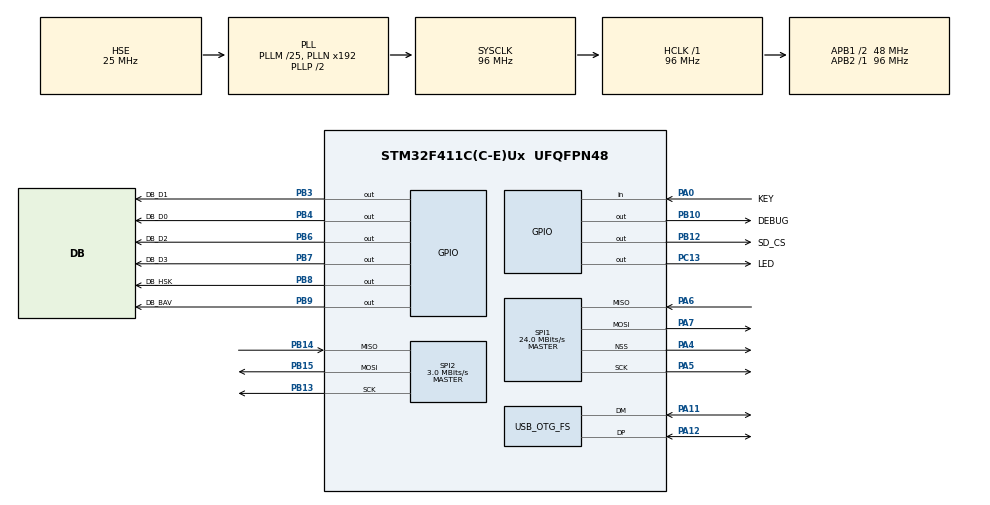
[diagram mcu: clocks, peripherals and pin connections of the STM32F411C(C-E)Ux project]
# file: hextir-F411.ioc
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Mcu.Family=STM32F4
Mcu.Name=STM32F411C(C-E)Ux
Mcu.Package=UFQFPN48
NVIC.OTG_FS_IRQn=true\:0\:0\:false\:false\:true\:false\:true\:true
NVIC.PriorityGroup=NVIC_PRIORITYGROUP_4
NVIC.TIM1_UP_TIM10_IRQn=true\:0\:0\:false\:false\:true\:true\:true\:true
PA0-WKUP.GPIO_Label=KEY
PA0-WKUP.GPIO_PuPd=GPIO_PULLUP
PA0-WKUP.Signal=GPIO_Input
PA11.Mode=Device_Only
PA11.Signal=USB_OTG_FS_DM
PA12.Mode=Device_Only
PA12.Signal=USB_OTG_FS_DP
PA13.Mode=Serial_Wire
PA13.Signal=SYS_JTMS-SWDIO
PA14.Mode=Serial_Wire
PA14.Signal=SYS_JTCK-SWCLK
PA4.Mode=NSS_Signal_Hard_Output
PA4.Signal=SPI1_NSS
PA5.Mode=Full_Duplex_Master
PA5.Signal=SPI1_SCK
PA6.Mode=Full_Duplex_Master
PA6.Signal=SPI1_MISO
PA7.Mode=Full_Duplex_Master
PA7.Signal=SPI1_MOSI
PB10.GPIO_Label=DEBUG
PB10.Signal=GPIO_Output
PB12.GPIO_Label=SD_CS
PB12.PinState=GPIO_PIN_SET
PB12.Signal=GPIO_Output
PB13.Mode=Full_Duplex_Master
PB13.Signal=SPI2_SCK
PB14.Mode=Full_Duplex_Master
PB14.Signal=SPI2_MISO
PB15.Mode=Full_Duplex_Master
PB15.Signal=SPI2_MOSI
PB3.GPIO_Label=DB_D1
PB3.GPIO_ModeDefaultOutputPP=GPIO_MODE_OUTPUT_OD
PB3.GPIO_PuPd=GPIO_PULLUP
PB3.PinState=GPIO_PIN_SET
PB3.Signal=GPIO_Output
PB4.GPIO_Label=DB_D0
PB4.GPIO_ModeDefaultOutputPP=GPIO_MODE_OUTPUT_OD
PB4.GPIO_PuPd=GPIO_PULLUP
PB4.PinState=GPIO_PIN_SET
PB4.Signal=GPIO_Output
PB6.GPIO_Label=DB_D2
PB6.GPIO_ModeDefaultOutputPP=GPIO_MODE_OUTPUT_OD
PB6.GPIO_PuPd=GPIO_PULLUP
PB6.PinState=GPIO_PIN_SET
PB6.Signal=GPIO_Output
PB7.GPIO_Label=DB_D3
PB7.GPIO_ModeDefaultOutputPP=GPIO_MODE_OUTPUT_OD
PB7.GPIO_PuPd=GPIO_PULLUP
PB7.PinState=GPIO_PIN_SET
PB7.Signal=GPIO_Output
PB8.GPIO_Label=DB_HSK
PB8.GPIO_ModeDefaultOutputPP=GPIO_MODE_OUTPUT_OD
PB8.GPIO_PuPd=GPIO_PULLUP
PB8.PinState=GPIO_PIN_SET
PB8.Signal=GPIO_Output
PB9.GPIO_Label=DB_BAV
PB9.GPIO_ModeDefaultOutputPP=GPIO_MODE_OUTPUT_OD
PB9.GPIO_PuPd=GPIO_PULLUP
PB9.PinState=GPIO_PIN_SET
PB9.Signal=GPIO_Output
PC13-ANTI_TAMP.GPIO_Label=LED
PC13-ANTI_TAMP.Signal=GPIO_Output
PH0\ -\ OSC_IN.Mode=HSE-External-Oscillator
PH0\ -\ OSC_IN.Signal=RCC_OSC_IN
PH1\ -\ OSC_OUT.Mode=HSE-External-Oscillator
PH1\ -\ OSC_OUT.Signal=RCC_OSC_OUT
ProjectManager.HeapSize=0x200
ProjectManager.StackSize=0x400
ProjectManager.TargetToolchain=STM32CubeIDE
RCC.48MHZClocksFreq_Value=48000000
RCC.AHBFreq_Value=96000000
RCC.APB1CLKDivider=RCC_HCLK_DIV2
RCC.APB1Freq_Value=48000000
RCC.APB1TimFreq_Value=96000000
RCC.APB2Freq_Value=96000000
RCC.APB2TimFreq_Value=96000000
RCC.CortexFreq_Value=96000000
RCC.HCLKFreq_Value=96000000
RCC.HSE_VALUE=25000000
RCC.HSI_VALUE=16000000
RCC.LSE_VALUE=32768
RCC.PLLM=25
RCC.SYSCLKFreq_VALUE=96000000
RCC.SYSCLKSource=RCC_SYSCLKSOURCE_PLLCLK
RCC.VCOOutputFreq_Value=192000000
SPI1.BaudRatePrescaler=SPI_BAUDRATEPRESCALER_4
SPI1.CalculateBaudRate=24.0 MBits/s
SPI1.Direction=SPI_DIRECTION_2LINES
SPI1.Mode=SPI_MODE_MASTER
SPI1.VirtualNSS=VM_NSSHARD
SPI1.VirtualType=VM_MASTER
SPI2.BaudRatePrescaler=SPI_BAUDRATEPRESCALER_16
SPI2.CalculateBaudRate=3.0 MBits/s
SPI2.Direction=SPI_DIRECTION_2LINES
SPI2.Mode=SPI_MODE_MASTER
SPI2.VirtualType=VM_MASTER
TIM10.Period=50000
TIM10.Prescaler=0
USB_DEVICE.CLASS_NAME_FS=CDC
USB_DEVICE.VirtualMode=Cdc
USB_DEVICE.VirtualModeFS=Cdc_FS
USB_OTG_FS.VirtualMode=Device_Only
VP_TIM10_VS_ClockSourceINT.Mode=Enable_Timer
VP_USB_DEVICE_VS_USB_DEVICE_CDC_FS.Mode=CDC_FS
board=custom

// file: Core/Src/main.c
/* USER CODE BEGIN Header */
/**
  ******************************************************************************
  * @file           : main.c
  * @brief          : Main program body
  ******************************************************************************
  * @attention
  *
  * Copyright (c) 2023 STMicroelectronics.
  * Copyright (C) 2023 Erik Piehl (for parts not autogenerated by STM32CubeIDE)
  * All rights reserved.
  *
  * This software is licensed under terms that can be found in the LICENSE file
  * in the root directory of this software component.
  * If no LICENSE file comes with this software, it is provided AS-IS.
  *
  ******************************************************************************
  */
/* USER CODE END Header */
#include "main.h"
#include "usb_device.h"

/* USER CODE BEGIN Includes */
#include "usbd_cdc_if.h"

#include "../HEXTIr/config.h"
#include "../HEXTIr/uart.h"	// HEXTir
#include "../HEXTIr/timer.h"	// HEXTir

/* USER CODE END Includes */

SPI_HandleTypeDef hspi1;
SPI_HandleTypeDef hspi2;

TIM_HandleTypeDef htim10;

void SystemClock_Config(void);
static void MX_GPIO_Init(void);
static void MX_TIM10_Init(void);
static void MX_SPI1_Init(void);
static void MX_SPI2_Init(void);

/* USER CODE BEGIN 0 */
int hextir_main(void);

static int delay_loops;

void _delay_us(int us) {
	// here we have a microsecond delay.
	// The overhead is about 1.5us. So we make the min time 2us.
	if(us < 2)
		us = 2;
	// The timer has been configured to count at processor clock i.e. 96MHz.
	// It's a 16-bit timer, so it rolls out real quick. the reload is set to 50000.
	htim10.Instance->CNT = 0;
	uint32_t limit = 96*us - 150;	// 150 approximates the overhead.
	if(limit >= 50000)
		limit = 50000;	// Prevent eternal loops. Beware of off by one.
	delay_loops = 0;
	HAL_TIM_Base_Start(&htim10);
	// Just a busy loop to wait the time to pass.
	while(htim10.Instance->CNT < limit) {
		delay_loops++;
	}
	HAL_TIM_Base_Stop(&htim10);
}

void timer_init(void) {
	// BUGBUG MISSING
	int t=1;	// breakpoint placeholder
}

void set_busy_led(uint8_t state) {
	HAL_GPIO_WritePin(LED_GPIO_Port, LED_Pin, state ? GPIO_PIN_RESET : GPIO_PIN_SET);
}

uint8_t crc7update(uint8_t crc, uint8_t data) {
//    ;; uint8_t crc7update(uint8_t crc, uint8_t data)
//    ;;
//    ;; input : r24: crc, r22: data
//    ;; output: r24: new crc
//crc7update:
//    ldi     r18, 8       ; number of bits to process
//    ldi     r19, 0x09    ; CRC7 polynomial
//    ldi     r20, 0x80    ; constant for inverting the top bit of the CRC
//
//loop:   lsl     r24          ; shift CRC
//    lsl     r22          ; shift data byte
//    brcc    0f           ; jump if top data bit was 0
//    eor     r24, r20     ; invert top bit of CRC if not
//0:      bst     r24, 7       ; read top bit of CRC
//    brtc    1f           ; skip if top bit of CRC is now clear
//    eor     r24, r19     ; apply polynomial
//1:      dec     r18          ; decrement bit counter
//    brne    loop         ; loop for next bit
//    andi    r24, 0x7f    ; clear top bit of
//    ret

	const uint8_t poly = 9;

	for(int i=0; i< 8; i++) {
		crc <<= 1;
		data <<= 1;
		if(data & 0x80)
			crc ^= 0x80;
		if(crc & 0x80)
			crc ^= poly;
	}
	return crc & 0x7F;
}

uint8_t crc7update2(uint8_t crc, uint8_t data)
{
	const uint8_t poly = 0x89;
	uint8_t v = (crc << 1) ^ data;
	v = (v & 0x80) ? v ^ poly : v;
	for (int i = 1; i < 8; i++) {
		v <<= 1;
		if (v & 0x80)
			v ^= poly;
	}
	return v;
}

volatile int rxbuf_level = 0;
uint8_t rxbuf[256];
uint8_t txbuf[512];
int txbuf_level = 0;
uint32_t cdc_sent_bytes = 0;

int erik_cdc_received_data(uint8_t *p, uint16_t len) {
	if(len < sizeof(rxbuf) - rxbuf_level) {
		memcpy(rxbuf+rxbuf_level, p, len);
		rxbuf_level += len;
		return len;
	}
	return 0;
}

/**
 * @brief get_cdc_received_data should probably block interrupts from CDC
 * before being run.
 */
int get_cdc_received_data(uint8_t *p, int len) {
	int amount = MIN(rxbuf_level, len);
	if(amount > 0) {
		memcpy(p, rxbuf, amount);
		if(rxbuf_level > amount) {
			// in efficient - copy data in the buffer to the beginning
			memcpy(rxbuf, rxbuf+amount, rxbuf_level-amount);
		}
		rxbuf_level -= amount;
		return amount;
	}
	return 0;
}

int shift_data_in_tx_buffer(int amount) {
	if(amount <= 0)
		return 0;

	if(txbuf_level >= amount) {
		// in efficient - copy data in the buffer to the beginning
    if(txbuf_level > amount)
		  memcpy(txbuf, txbuf+amount, txbuf_level-amount);
		txbuf_level -= amount;
	}
	return amount;
}

// HEXTIr debug UART stuff, forward to USB CDC
void uart_init(void) {
	// Nothing
}

void uart_putc(uint8_t c) {
	if(txbuf_level < sizeof(txbuf)-1) {
		txbuf[txbuf_level++] = c;
	}
	uart_data_tosend();
}

uint8_t uart_data_tosend(void) {

	int count = txbuf_level;
	if(count > 0) {
	  if(CDC_Transmit_FS(txbuf, count) == USBD_OK) {
		  shift_data_in_tx_buffer(count);
		  cdc_sent_bytes += count;
	  }
	}
	return count > 0;
}

// Code from config.h
inline void board_init(void) {
	// BUGBUG MISSING
}

void sei() {
	// BUGBUG MISSING

}

inline uint8_t sdcard_wp(void) {
  return 0;
}

void sdcard_interface_init(void) {
	// BUGBUG MISSING
}

uint8_t sdcard_detect(void) {
	return 1;
}

void leds_init(void) {
	// BUGBUG MISSING
}

void wakeup_pin_init(void) {
	// BUGBUG MISSING
}

// Code from timer.h avoid inline static functions.
void start_timeout(uint16_t usecs) {
	// BUGBUG MISSING
}

uint8_t has_timed_out(void) {
	// BUGBUG MISSING
	return 0;
}

tick_t getticks(void) {
	uint32_t hz = HZ;		// for debugging.
	uint32_t ticks = HAL_GetTick();
	return ticks;
}

/* USER CODE END 0 */

int main(void)
{

  /* MCU Configuration--------------------------------------------------------*/

  /* Reset of all peripherals, Initializes the Flash interface and the Systick. */
  HAL_Init();

  /* Configure the system clock */
  SystemClock_Config();

  /* Initialize all configured peripherals */
  MX_GPIO_Init();
  MX_TIM10_Init();
  MX_USB_DEVICE_Init();
  MX_SPI1_Init();
  MX_SPI2_Init();
  /* USER CODE BEGIN 2 */
  HAL_GPIO_WritePin(LED_GPIO_Port, LED_Pin, GPIO_PIN_SET);
  /* USER CODE END 2 */

  /* Infinite loop */
  /* USER CODE BEGIN WHILE */

  int delays[] = { 2, 8, 10, 100, -1 };
  int index = 0;

  // Write pin:
  // 	Reset: GPIOx->BSRR = (uint32_t)GPIO_Pin << 16U;
  // 	Set: GPIOx->BSRR = GPIO_Pin;
  __IO uint32_t *pBSRR = &DEBUG_GPIO_Port->BSRR;

  while (0) {
	  char s[80];
	  // HAL_GPIO_WritePin(DEBUG_GPIO_Port, DEBUG_Pin, GPIO_PIN_SET);
	  *pBSRR = DEBUG_Pin;
	  _delay_us(delays[index]);
	  // HAL_GPIO_WritePin(DEBUG_GPIO_Port, DEBUG_Pin, GPIO_PIN_RESET);
	  *pBSRR = DEBUG_Pin << 16;

	  sprintf(s, "_delay_us(%d): %d loops\r\n", delays[index], delay_loops);
	  CDC_Transmit_FS((uint8_t *)s, strlen(s));
	  index++;
	  if(delays[index] < 0)
		  index = 0;
	  HAL_Delay(1000);

	  int count = txbuf_level;
	  if(count > 0) {
		  if(CDC_Transmit_FS(txbuf, count) == USBD_OK) {
			  shift_data_in_tx_buffer(count);
			  cdc_sent_bytes += count;
		  }
	  }

	  if(rxbuf_level > 0) {
		  int level = 1; // rxbuf_level > 8 ? 8 : rxbuf_level;
		  uint8_t b[8];
		  get_cdc_received_data(b, level);
		  for(int i=0; i<level; i++) {
			  switch(b[i]) {
			  case '0':	// Led off
			  case '1': // led on  (write low level)
				  HAL_GPIO_WritePin(LED_GPIO_Port, LED_Pin, !(b[i] == '1'));
				  break;
			  }
		  }
		  // print_debug_stuff( serial_index, b[0]);
	  }
  }

  HAL_GPIO_WritePin(LED_GPIO_Port, LED_Pin, GPIO_PIN_RESET);
  HAL_Delay(3000);
  char *s = "HEXTIr ported to STM32 by Erik Piehl 2023\r\n";
  CDC_Transmit_FS((uint8_t *)s, strlen(s));
  HAL_GPIO_WritePin(LED_GPIO_Port, LED_Pin, GPIO_PIN_SET);

  hextir_main();

  while (1)
  {
    /* USER CODE END WHILE */

  }
}

void SystemClock_Config(void)
{
  RCC_OscInitTypeDef RCC_OscInitStruct = {0};
  RCC_ClkInitTypeDef RCC_ClkInitStruct = {0};

  /** Configure the main internal regulator output voltage
  */
  __HAL_RCC_PWR_CLK_ENABLE();
  __HAL_PWR_VOLTAGESCALING_CONFIG(PWR_REGULATOR_VOLTAGE_SCALE1);

  /** Initializes the RCC Oscillators according to the specified parameters
  * in the RCC_OscInitTypeDef structure.
  */
  RCC_OscInitStruct.OscillatorType = RCC_OSCILLATORTYPE_HSE;
  RCC_OscInitStruct.HSEState = RCC_HSE_ON;
  RCC_OscInitStruct.PLL.PLLState = RCC_PLL_ON;
  RCC_OscInitStruct.PLL.PLLSource = RCC_PLLSOURCE_HSE;
  RCC_OscInitStruct.PLL.PLLM = 25;
  RCC_OscInitStruct.PLL.PLLN = 192;
  RCC_OscInitStruct.PLL.PLLP = RCC_PLLP_DIV2;
  RCC_OscInitStruct.PLL.PLLQ = 4;
  if (HAL_RCC_OscConfig(&RCC_OscInitStruct) != HAL_OK)
  {
    Error_Handler();
  }

  /** Initializes the CPU, AHB and APB buses clocks
  */
  RCC_ClkInitStruct.ClockType = RCC_CLOCKTYPE_HCLK|RCC_CLOCKTYPE_SYSCLK
                              |RCC_CLOCKTYPE_PCLK1|RCC_CLOCKTYPE_PCLK2;
  RCC_ClkInitStruct.SYSCLKSource = RCC_SYSCLKSOURCE_PLLCLK;
  RCC_ClkInitStruct.AHBCLKDivider = RCC_SYSCLK_DIV1;
  RCC_ClkInitStruct.APB1CLKDivider = RCC_HCLK_DIV2;
  RCC_ClkInitStruct.APB2CLKDivider = RCC_HCLK_DIV1;

  if (HAL_RCC_ClockConfig(&RCC_ClkInitStruct, FLASH_LATENCY_3) != HAL_OK)
  {
    Error_Handler();
  }
}

static void MX_SPI1_Init(void)
{

  /* SPI1 parameter configuration*/
  hspi1.Instance = SPI1;
  hspi1.Init.Mode = SPI_MODE_MASTER;
  hspi1.Init.Direction = SPI_DIRECTION_2LINES;
  hspi1.Init.DataSize = SPI_DATASIZE_8BIT;
  hspi1.Init.CLKPolarity = SPI_POLARITY_LOW;
  hspi1.Init.CLKPhase = SPI_PHASE_1EDGE;
  hspi1.Init.NSS = SPI_NSS_HARD_OUTPUT;
  hspi1.Init.BaudRatePrescaler = SPI_BAUDRATEPRESCALER_4;
  hspi1.Init.FirstBit = SPI_FIRSTBIT_MSB;
  hspi1.Init.TIMode = SPI_TIMODE_DISABLE;
  hspi1.Init.CRCCalculation = SPI_CRCCALCULATION_DISABLE;
  hspi1.Init.CRCPolynomial = 10;
  if (HAL_SPI_Init(&hspi1) != HAL_OK)
  {
    Error_Handler();
  }

}

static void MX_SPI2_Init(void)
{

  /* SPI2 parameter configuration*/
  hspi2.Instance = SPI2;
  hspi2.Init.Mode = SPI_MODE_MASTER;
  hspi2.Init.Direction = SPI_DIRECTION_2LINES;
  hspi2.Init.DataSize = SPI_DATASIZE_8BIT;
  hspi2.Init.CLKPolarity = SPI_POLARITY_LOW;
  hspi2.Init.CLKPhase = SPI_PHASE_1EDGE;
  hspi2.Init.NSS = SPI_NSS_SOFT;
  hspi2.Init.BaudRatePrescaler = SPI_BAUDRATEPRESCALER_16;
  hspi2.Init.FirstBit = SPI_FIRSTBIT_MSB;
  hspi2.Init.TIMode = SPI_TIMODE_DISABLE;
  hspi2.Init.CRCCalculation = SPI_CRCCALCULATION_DISABLE;
  hspi2.Init.CRCPolynomial = 10;
  if (HAL_SPI_Init(&hspi2) != HAL_OK)
  {
    Error_Handler();
  }

}

static void MX_TIM10_Init(void)
{

  htim10.Instance = TIM10;
  htim10.Init.Prescaler = 0;
  htim10.Init.CounterMode = TIM_COUNTERMODE_UP;
  htim10.Init.Period = 50000;
  htim10.Init.ClockDivision = TIM_CLOCKDIVISION_DIV1;
  htim10.Init.AutoReloadPreload = TIM_AUTORELOAD_PRELOAD_DISABLE;
  if (HAL_TIM_Base_Init(&htim10) != HAL_OK)
  {
    Error_Handler();
  }

}

static void MX_GPIO_Init(void)
{
  GPIO_InitTypeDef GPIO_InitStruct = {0};

  /* GPIO Ports Clock Enable */
  __HAL_RCC_GPIOC_CLK_ENABLE();
  __HAL_RCC_GPIOH_CLK_ENABLE();
  __HAL_RCC_GPIOA_CLK_ENABLE();
  __HAL_RCC_GPIOB_CLK_ENABLE();

  /*Configure GPIO pin Output Level */
  HAL_GPIO_WritePin(LED_GPIO_Port, LED_Pin, GPIO_PIN_RESET);

  /*Configure GPIO pin Output Level */
  HAL_GPIO_WritePin(DEBUG_GPIO_Port, DEBUG_Pin, GPIO_PIN_RESET);

  /*Configure GPIO pin Output Level */
  HAL_GPIO_WritePin(GPIOB, SD_CS_Pin|DB_D1_Pin|DB_D0_Pin|DB_D2_Pin
                          |DB_D3_Pin|DB_HSK_Pin|DB_BAV_Pin, GPIO_PIN_SET);

  /*Configure GPIO pin : LED_Pin */
  GPIO_InitStruct.Pin = LED_Pin;
  GPIO_InitStruct.Mode = GPIO_MODE_OUTPUT_PP;
  GPIO_InitStruct.Pull = GPIO_NOPULL;
  GPIO_InitStruct.Speed = GPIO_SPEED_FREQ_LOW;
  HAL_GPIO_Init(LED_GPIO_Port, &GPIO_InitStruct);

  /*Configure GPIO pin : KEY_Pin */
  GPIO_InitStruct.Pin = KEY_Pin;
  GPIO_InitStruct.Mode = GPIO_MODE_INPUT;
  GPIO_InitStruct.Pull = GPIO_PULLUP;
  HAL_GPIO_Init(KEY_GPIO_Port, &GPIO_InitStruct);

  /*Configure GPIO pins : DEBUG_Pin SD_CS_Pin */
  GPIO_InitStruct.Pin = DEBUG_Pin|SD_CS_Pin;
  GPIO_InitStruct.Mode = GPIO_MODE_OUTPUT_PP;
  GPIO_InitStruct.Pull = GPIO_NOPULL;
  GPIO_InitStruct.Speed = GPIO_SPEED_FREQ_LOW;
  HAL_GPIO_Init(GPIOB, &GPIO_InitStruct);

  /*Configure GPIO pins : DB_D1_Pin DB_D0_Pin DB_D2_Pin DB_D3_Pin
                           DB_HSK_Pin DB_BAV_Pin */
  GPIO_InitStruct.Pin = DB_D1_Pin|DB_D0_Pin|DB_D2_Pin|DB_D3_Pin
                          |DB_HSK_Pin|DB_BAV_Pin;
  GPIO_InitStruct.Mode = GPIO_MODE_OUTPUT_OD;
  GPIO_InitStruct.Pull = GPIO_PULLUP;
  GPIO_InitStruct.Speed = GPIO_SPEED_FREQ_LOW;
  HAL_GPIO_Init(GPIOB, &GPIO_InitStruct);

}

void Error_Handler(void)
{
  __disable_irq();
  while (1)
  {
  }
}
